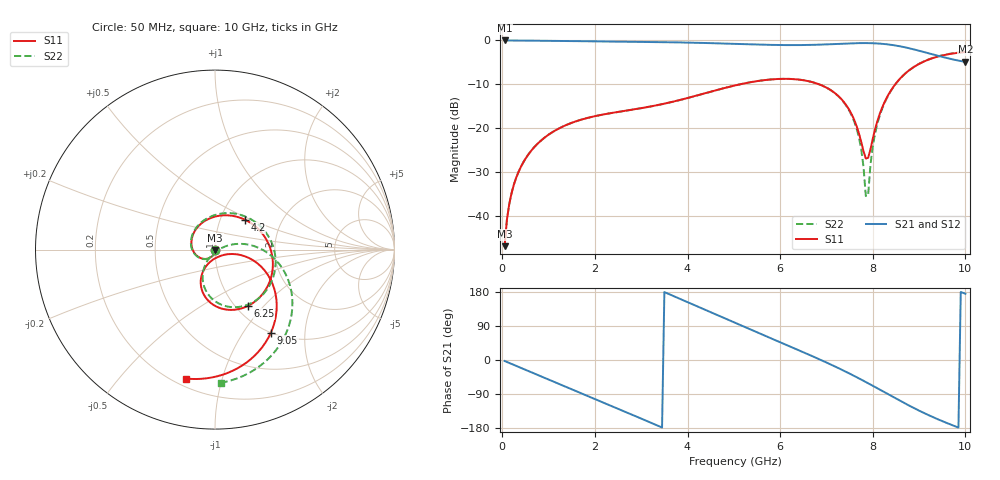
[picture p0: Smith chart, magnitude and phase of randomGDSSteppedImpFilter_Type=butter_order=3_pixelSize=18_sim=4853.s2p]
! freq	dB(S11)	phase(S11)	dB(S12)	phase(S12)
!  dB(S21)	phase(S21)	dB(S22)	phase(S22)
!S-par simulation data
#  GHz  S  DB  R 50
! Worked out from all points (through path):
!   200 points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, 50 MHz to 10 GHz, reference 50 ohm
!   highest |S21| = 0.00 dB at 50 MHz (marker M1); lowest = -4.9 dB at 10 GHz (marker M2)
!   group delay of S21, straight-line fit = 152 ps
!   lowest |S11| = -46.9 dB at 50 MHz (marker M3), VSWR 1.01, Z = 50 - j0.453 ohm
!   |S11| at or under -10 dB: start of sweep to 5.132 GHz; 6.842 GHz to 8.486 GHz (1.644 GHz wide, 21.4 % of centre)
!   |S22| runs from -46.9 to -2.6 dB; largest |S21 - S12| = 0
!   S11 on the Smith chart (normalised r, x): 50 MHz: 1.00, -0.01; 4.2 GHz: 1.31, +0.46; 6.25 GHz: 1.13, -0.82; 9.05 GHz: 1.00, -1.34; 10 GHz: 0.25, -0.77
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0.05  -46.88 -91.3  -0.00 -2.6  -0.00 -2.6  -46.85 -91.5
0.1  -40.83 -94.4  -0.01 -5.2  -0.01 -5.2  -40.82 -94.4
0.2  -34.79 -100.0  -0.02 -10.4  -0.02 -10.4  -34.79 -99.8
0.5  -26.96 -116.2  -0.04 -25.8  -0.04 -25.8  -26.96 -115.6
1.15  -20.47 -150.9  -0.11 -59.2  -0.11 -59.2  -20.48 -149.2
1.75  -17.91 177.1  -0.18 -90.0  -0.18 -90.0  -17.92 -179.7
2.5  -16.29 136.9  -0.26 -128.6  -0.26 -128.6  -16.30 142.9
3.4  -14.63 88.0  -0.37 -175.5  -0.37 -175.5  -14.65 97.8
4.2  -12.55 44.9  -0.54 142.1  -0.54 142.1  -12.57 56.9
5.05  -10.19 0.6  -0.79 97.0  -0.79 97.0  -10.19 12.5
5.6  -9.12 -27.4  -0.96 67.9  -0.96 67.9  -9.11 -16.2
6.25  -8.79 -59.8  -1.07 33.8  -1.07 33.8  -8.78 -49.8
6.7  -9.52 -82.0  -1.01 9.9  -1.01 9.9  -9.50 -73.3
7.55  -16.96 -118.7  -0.65 -39.0  -0.65 -39.0  -17.22 -118.6
7.75  -23.08 -110.3  -0.60 -51.6  -0.60 -51.6  -24.77 -124.3
7.85  -26.91 -77.9  -0.60 -58.1  -0.60 -58.1  -35.47 -93.0
7.9  -26.76 -51.5  -0.61 -61.4  -0.61 -61.4  -35.29 -12.0
7.95  -24.80 -30.9  -0.62 -64.7  -0.62 -64.7  -28.35 13.8
8.05  -20.22 -14.5  -0.66 -71.4  -0.66 -71.4  -21.17 17.3
8.35  -12.13 -17.8  -0.93 -91.6  -0.93 -91.6  -12.24 2.2
9.05  -5.07 -56.0  -2.48 -136.6  -2.48 -136.6  -5.04 -40.3
10  -2.66 -102.7  -4.87 174.9  -4.87 174.9  -2.59 -87.3
